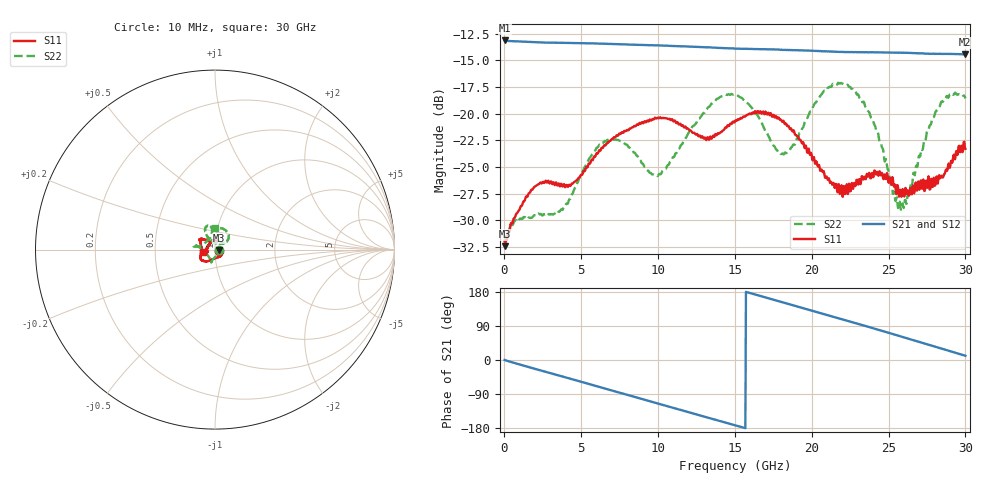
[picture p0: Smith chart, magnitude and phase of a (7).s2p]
! Device:  ADRF5700
! Description: 2 dB LSB, 5-Bit, Silicon Digital Attenuator, 100 MHz to 22 GHz
! Frequency:  10MHz -  30.00 GHz
! Ports:
!  RF1 = Port 1
!  RF2 = Port 2
! VDD  =  +3.30 Volts
! VSS  =  -3.30 Volts
! State:  12.00 dB attenuation
! Data:  Data was collected using an calibrated 4 port network analyzer
!  The reference plane is the edge of the device.
! Notes: Analog Devices supplies this data as a sample of measured data
!  for this product.  Your particular data for this product may vary.
!  Data was taken at 25 degrees C.
!  Analog Devices reserves the right to change this data at anytime.
# GHz S  dB  R 50
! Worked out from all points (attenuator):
!   801 points, 10 MHz to 30 GHz, reference 50 ohm
!   highest |S21| = -13.14 dB at 10 MHz (marker M1); lowest = -14.4 dB at 29.96 GHz (marker M2)
!   lowest |S11| = -32.4 dB at 47.5 MHz (marker M3), VSWR 1.05, Z = 52.4 - j0.171 ohm
!   |S11| at or under -10 dB: start of sweep to end of sweep
!   |S22| runs from -32.2 to -17.1 dB; largest |S21 - S12| = 0.0025
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0.01  -31.91 -18.6  -13.14 0.0  -13.13 0.1  -32.15 -4.7
0.0475  -32.41 -3.9  -13.18 -0.6  -13.15 -0.5  -32.18 12.7
0.5723  -29.93 -12.7  -13.21 -6.9  -13.18 -6.9  -30.32 5.1
2.0343  -26.77 -36.6  -13.30 -23.9  -13.27 -23.8  -29.50 -24.8
3.7588  -26.76 -64.1  -13.36 -43.4  -13.32 -43.3  -29.02 -70.0
5.0333  -25.72 -96.8  -13.38 -57.9  -13.35 -57.9  -25.58 -100.8
7.0202  -22.36 -122.0  -13.47 -80.8  -13.43 -80.7  -22.40 -107.1
10.0192  -20.41 -143.8  -13.59 -115.2  -13.56 -115.0  -25.74 -147.4
13.1681  -22.37 177.7  -13.78 -151.3  -13.74 -151.1  -19.57 167.7
15.005  -20.71 152.5  -13.90 -172.2  -13.85 -171.9  -18.21 170.6
16.467  -19.78 146.7  -13.95 171.2  -13.91 171.5  -20.15 169.7
18.079  -20.76 139.8  -14.02 152.5  -13.97 152.9  -23.73 136.8
20.0283  -24.22 128.6  -14.09 129.8  -14.05 130.3  -19.54 98.4
21.3404  -26.66 107.6  -14.17 114.7  -14.14 115.2  -17.26 103.3
22.6899  -27.04 89.6  -14.23 99.1  -14.18 99.7  -17.71 114.5
24.002  -25.95 93.1  -14.25 83.7  -14.21 84.2  -20.73 120.6
25.0142  -26.46 111.0  -14.27 71.6  -14.22 72.2  -25.45 113.3
25.5015  -27.53 127.4  -14.28 65.8  -14.24 66.4  -27.92 93.3
25.9139  -27.06 141.0  -14.28 60.8  -14.24 61.4  -28.40 73.6
28.1631  -26.25 -158.6  -14.39 33.6  -14.34 34.2  -19.68 43.5
29.9625  -23.09 -166.1  -14.45 11.6  -14.39 12.2  -18.41 88.6
30  -23.30 -169.1  -14.44 11.2  -14.39 11.7  -18.56 89.8
